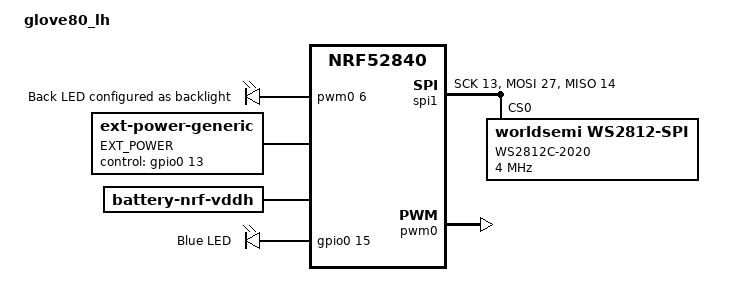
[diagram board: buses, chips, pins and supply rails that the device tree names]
/*
 * Copyright (c) 2021 The ZMK Contributors
 *
 * SPDX-License-Identifier: MIT
 */

/dts-v1/;
#include <nordic/nrf52840_qiaa.dtsi>
#include <dt-bindings/led/led.h>
#include "glove80.dtsi"

/ {
	model = "glove80_lh";
	compatible = "glove80_lh";

	chosen {
		zmk,underglow = &led_strip;
        zmk,backlight = &back_led_backlight;
		zmk,battery   = &vbatt;
		zmk,underglow-indicators = &underglow_indicators;
	};

	back_led_backlight: pwmleds {
		compatible = "pwm-leds";
		label = "BACK LED";
		pwm_led_0 {
			pwms = <&pwm0 6>; 
			label = "Back LED configured as backlight";
		};
	};

	ext-power {
		compatible = "zmk,ext-power-generic";
		label = "EXT_POWER";
		control-gpios = <&gpio0 13 GPIO_ACTIVE_HIGH>; /* WS2812_CE */
		init-delay-ms = <100>;
	};

	vbatt: vbatt {
		compatible = "zmk,battery-nrf-vddh";
		label = "BATTERY";
	};


	leds {
		leds {
		compatible = "gpio-leds";
		blue_led: led_0 {
			gpios = <&gpio0 15 GPIO_ACTIVE_HIGH>;
			label = "Blue LED";
		};
	};
  };



/*
/*
  27 LEDs

  
  25 24 19 18 11 10
  26 23 20 17 12 9
  27 22 21 16 13 8
            15   14   7 *   3 2 1
                        *   4 5 6
*/

	underglow_indicators: underglow-indicators {
		compatible  = "zmk,underglow-indicators";
		layer-state = <25 24 19 18 11 10>;
		bat-lhs     = <26 23 20 17 12 9>;
		bat-rhs     = <27 22 21 16 13 8>;
		capslock    = <15>;
		numlock     = <14>;
		scrolllock  = <10>;
		ble-state   = <3 4 0 1>;
		usb-state   = <5>;
		output-fallback = <25>;
	};
};


&spi1 {
	compatible = "nordic,nrf-spim";
	/* Cannot be used together with i2c0. */
	status = "okay";
	mosi-pin = <27>; /* WS2812_VEXT_DATA */
	// Unused pins, needed for SPI definition, but not used by the ws2812 driver itself.
	sck-pin = <13>; /* Must select a not connected pin */
	miso-pin = <14>; /* Must select a not connected pin */

	led_strip: ws2812@0 {
		compatible = "worldsemi,ws2812-spi";
		label = "WS2812C-2020";

		/* SPI */
		reg = <0>; /* ignored, but necessary for SPI bindings */
		spi-max-frequency = <4000000>;

		/* WS2812 */
		chain-length = <40>; /* 40 keys have underglow at the moment */
		spi-one-frame = <0x70>;
		spi-zero-frame = <0x40>;

		color-mapping = <LED_COLOR_ID_GREEN LED_COLOR_ID_RED LED_COLOR_ID_BLUE>;
	};
};

&pwm0 {
	status = "okay";
	ch0-pin = <6>; 
};


/* [SC] Pretty sure this is not required
&uart0 {
	compatible = "nordic,nrf-uarte";
	tx-pin = <6>;
	rx-pin = <8>;
};
*/

&kscan0 {
	row-gpios
		= <&gpio0 22 (GPIO_ACTIVE_HIGH | GPIO_PULL_DOWN)> // LH ROW1
		, <&gpio0 24 (GPIO_ACTIVE_HIGH | GPIO_PULL_DOWN)> // LH ROW2
		, <&gpio0 0 (GPIO_ACTIVE_HIGH | GPIO_PULL_DOWN)> // LH ROW3
		, <&gpio0 11 (GPIO_ACTIVE_HIGH | GPIO_PULL_DOWN)> // LH ROW4
		;

col-gpios
		= <&gpio1 31 GPIO_ACTIVE_HIGH> // LH COL6
		, <&gpio1 29 GPIO_ACTIVE_HIGH> // LH COL5
		, <&gpio1 2 GPIO_ACTIVE_HIGH> // LH COL4
		, <&gpio1 15 GPIO_ACTIVE_HIGH> // LH COL3
		, <&gpio1 13 GPIO_ACTIVE_HIGH> // LH COL2
		, <&gpio1 11 GPIO_ACTIVE_HIGH> // LH Thumb
		;
};

